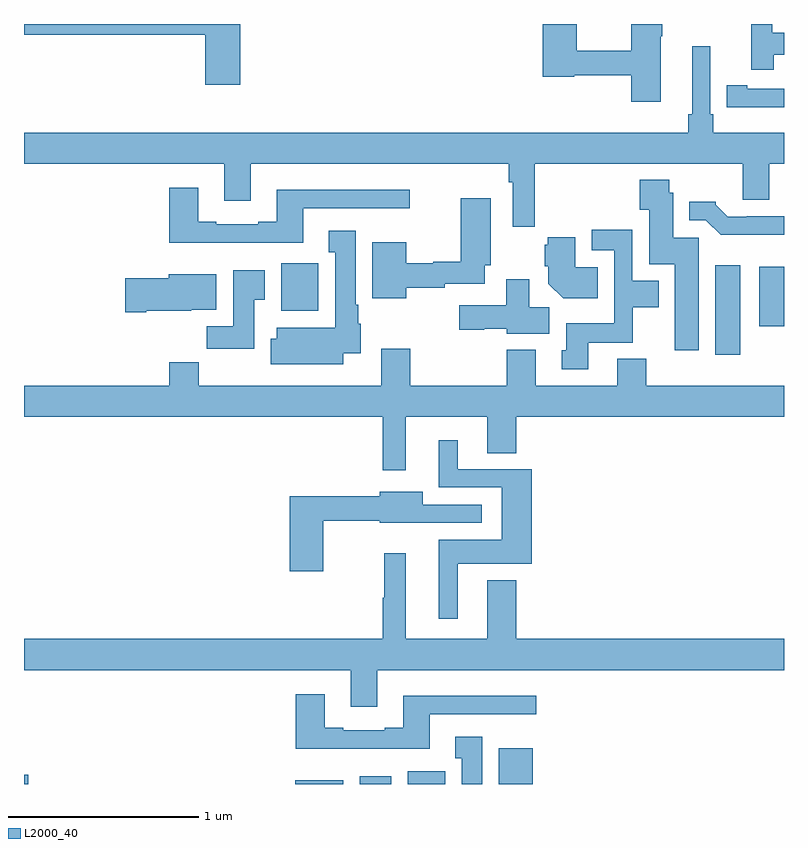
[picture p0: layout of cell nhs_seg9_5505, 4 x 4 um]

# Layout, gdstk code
import gdstk
lib = gdstk.Library(unit=1e-6, precision=1e-09)
def R(c, l, rs):  # rectangles x0, y0, x1, y1
    for r in rs: c.add(gdstk.rectangle(r[:2], r[2:], *l))
def P(c, l, *ps):  # polygons
    for p in ps: c.add(gdstk.Polygon(p, *l))
L2000_40 = (2000, 40)

nhs_seg9_5505 = lib.new_cell('nhs_seg9_5505')
R(nhs_seg9_5505, L2000_40, [(431,1182.5,431.023,1182.548), (432.428,1182.5,432.679,1182.52), (432.767,1182.5,432.934,1182.541), (433.019,1182.5,433.216,1182.568), (433.499,1182.5,433.678,1182.688), (434.639,1184.76,434.77,1185.229), (434.87,1184.909,435,1185.223), (432.353,1184.99,432.549,1185.241)])
P(nhs_seg9_5505, L2000_40, [(434.945,1186.338),(435,1186.338),(435,1186.454),(434.938,1186.454),(434.938,1186.5),(434.828,1186.5),(434.828,1186.26),(434.945,1186.26)],
  [(432.137,1186.5),(431,1186.5),(431,1186.444),(431.954,1186.444),(431.954,1186.179),(432.137,1186.179)],
  [(434.35,1186.435),(434.358,1186.435),(434.358,1186.5),(434.197,1186.5),(434.197,1186.358),(433.908,1186.358),(433.908,1186.5),(433.73,1186.5),(433.73,1186.222),(433.896,1186.222),(433.896,1186.23),(434.197,1186.23),(434.197,1186.092),(434.35,1186.092)],
  [(431,1185.764),(432.053,1185.764),(432.053,1185.57),(432.193,1185.57),(432.193,1185.764),(433.552,1185.764),(433.552,1185.668),(433.572,1185.668),(433.572,1185.432),(433.688,1185.432),(433.688,1185.764),(434.783,1185.764),(434.783,1185.574),(434.923,1185.574),(434.923,1185.764),(435,1185.764),(435,1185.928),(434.627,1185.928),(434.627,1186.024),(434.613,1186.024),(434.613,1186.384),(434.516,1186.384),(434.516,1186.024),(434.497,1186.024),(434.497,1185.928),(431,1185.928)],
  [(435,1186.158),(434.806,1186.158),(434.806,1186.178),(434.698,1186.178),(434.698,1186.062),(434.806,1186.062),(434.806,1186.061),(435,1186.061)],
  [(434.551,1185.375),(434.416,1185.375),(434.416,1185.612),(434.397,1185.612),(434.397,1185.679),(434.24,1185.679),(434.24,1185.523),(434.291,1185.523),(434.291,1185.236),(434.426,1185.236),(434.426,1184.784),(434.551,1184.784)],
  [(432.469,1185.531),(433.03,1185.531),(433.03,1185.628),(432.329,1185.628),(432.329,1185.46),(432.233,1185.46),(432.233,1185.447),(432.013,1185.447),(432.013,1185.46),(431.917,1185.46),(431.917,1185.637),(431.765,1185.637),(431.765,1185.35),(432.469,1185.35)],
  [(433.012,1185.112),(433.215,1185.112),(433.215,1185.132),(433.426,1185.132),(433.426,1185.23),(433.456,1185.23),(433.456,1185.583),(433.298,1185.583),(433.298,1185.248),(433.155,1185.248),(433.155,1185.241),(433.012,1185.241),(433.012,1185.352),(432.833,1185.352),(432.833,1185.056),(433.012,1185.056)],
  [(435,1185.489),(434.803,1185.489),(434.803,1185.486),(434.704,1185.486),(434.64,1185.55),(434.64,1185.565),(434.501,1185.565),(434.501,1185.468),(434.589,1185.468),(434.668,1185.39),(435,1185.39)],
  [(433.969,1184.822),(434.205,1184.822),(434.205,1185.008),(434.341,1185.008),(434.341,1185.148),(434.202,1185.148),(434.202,1185.418),(433.989,1185.418),(433.989,1185.309),(434.106,1185.309),(434.106,1184.926),(433.853,1184.926),(433.853,1184.784),(433.829,1184.784),(433.829,1184.682),(433.969,1184.682)],
  [(432.679,1184.768),(432.772,1184.768),(432.772,1184.922),(432.76,1184.922),(432.76,1185.022),(432.745,1185.022),(432.745,1185.412),(432.605,1185.412),(432.605,1185.299),(432.638,1185.299),(432.638,1184.902),(432.329,1184.902),(432.329,1184.843),(432.299,1184.843),(432.299,1184.708),(432.679,1184.708)],
  [(434.021,1185.22),(433.9,1185.22),(433.9,1185.378),(433.757,1185.378),(433.757,1185.339),(433.742,1185.339),(433.742,1185.225),(433.76,1185.225),(433.76,1185.134),(433.838,1185.056),(434.021,1185.056)],
  [(432.211,1185.049),(432.268,1185.049),(432.268,1185.205),(432.101,1185.205),(432.101,1184.908),(431.962,1184.908),(431.962,1184.79),(432.211,1184.79)],
  [(431.644,1184.99),(431.88,1184.99),(431.88,1184.996),(432.013,1184.996),(432.013,1185.184),(431.762,1185.184),(431.762,1185.161),(431.532,1185.161),(431.532,1184.983),(431.644,1184.983)],
  [(433.765,1185.008),(433.66,1185.008),(433.66,1185.157),(433.538,1185.157),(433.538,1185.019),(433.29,1185.019),(433.29,1184.89),(433.422,1184.89),(433.422,1184.897),(433.542,1184.897),(433.542,1184.87),(433.765,1184.87)],
  [(433.009,1184.432),(433.439,1184.432),(433.439,1184.242),(433.592,1184.242),(433.592,1184.432),(435,1184.432),(435,1184.596),(434.276,1184.596),(434.276,1184.737),(434.123,1184.737),(434.123,1184.596),(433.693,1184.596),(433.693,1184.785),(433.541,1184.785),(433.541,1184.596),(433.034,1184.596),(433.034,1184.791),(432.881,1184.791),(432.881,1184.596),(431.921,1184.596),(431.921,1184.72),(431.765,1184.72),(431.765,1184.596),(431,1184.596),(431,1184.432),(432.888,1184.432),(432.888,1184.151),(433.009,1184.151)],
  [(433.282,1183.658),(433.673,1183.658),(433.673,1184.157),(433.282,1184.157),(433.282,1184.308),(433.184,1184.308),(433.184,1184.061),(433.514,1184.061),(433.514,1183.786),(433.184,1183.786),(433.184,1183.371),(433.282,1183.371)],
  [(432.576,1183.885),(432.872,1183.885),(432.872,1183.874),(433.095,1183.874),(433.095,1183.875),(433.408,1183.875),(433.408,1183.971),(433.099,1183.971),(433.099,1184.038),(432.872,1184.038),(432.872,1184.014),(432.398,1184.014),(432.398,1183.62),(432.576,1183.62)],
  [(432.859,1183.1),(435,1183.1),(435,1183.264),(433.592,1183.264),(433.592,1183.573),(433.439,1183.573),(433.439,1183.264),(433.009,1183.264),(433.009,1183.714),(432.895,1183.714),(432.895,1183.481),(432.888,1183.481),(432.888,1183.264),(431,1183.264),(431,1183.1),(432.719,1183.1),(432.719,1182.906),(432.859,1182.906)],
  [(433.135,1182.867),(433.696,1182.867),(433.696,1182.964),(432.995,1182.964),(432.995,1182.796),(432.899,1182.796),(432.899,1182.783),(432.679,1182.783),(432.679,1182.796),(432.583,1182.796),(432.583,1182.973),(432.431,1182.973),(432.431,1182.686),(433.135,1182.686)],
  [(433.411,1182.748),(433.271,1182.748),(433.271,1182.635),(433.304,1182.635),(433.304,1182.5),(433.411,1182.5)])

lib.write_gds('nhs_seg9_5505.gds')
